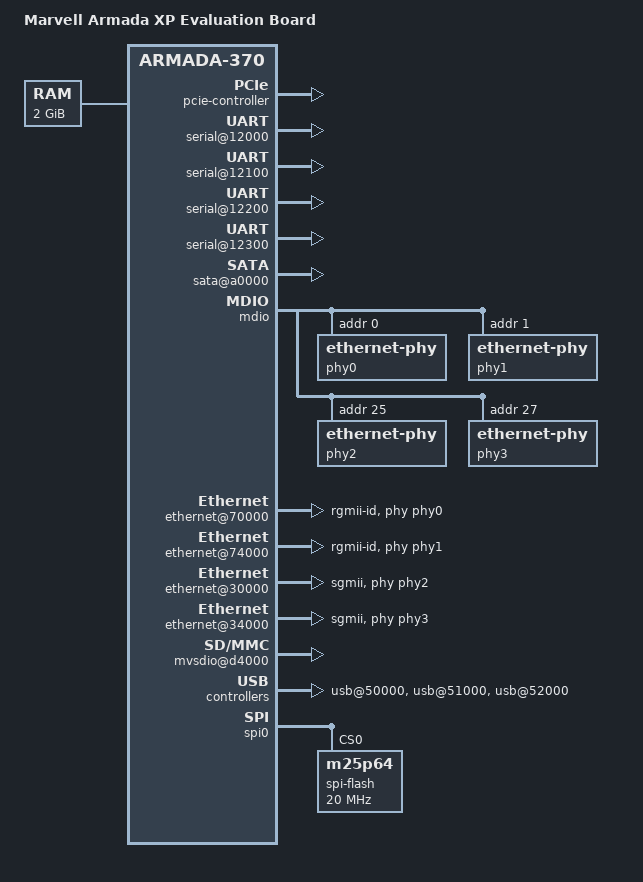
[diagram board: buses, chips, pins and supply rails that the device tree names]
/*
 * Device Tree file for Marvell Armada XP evaluation board
 * (DB-78460-BP)
 *
 * Copyright (C) 2012 Marvell
 *
 * Lior Amsalem <alior@marvell.com>
 * Gregory CLEMENT <gregory.clement@free-electrons.com>
 * Thomas Petazzoni <thomas.petazzoni@free-electrons.com>
 *
 * This file is licensed under the terms of the GNU General Public
 * License version 2.  This program is licensed "as is" without any
 * warranty of any kind, whether express or implied.
 */

/dts-v1/;
#include "armada-xp-mv78460.dtsi"

/ {
	model = "Marvell Armada XP Evaluation Board";
	compatible = "marvell,axp-db", "marvell,armadaxp-mv78460", "marvell,armadaxp", "marvell,armada-370-xp";

	chosen {
		bootargs = "console=ttyS0,115200 earlyprintk";
	};

	memory {
		device_type = "memory";
		reg = <0 0x00000000 0 0x80000000>; /* 2 GB */
	};

	soc {
		ranges = <MBUS_ID(0xf0, 0x01) 0 0 0xd0000000 0x100000
			  MBUS_ID(0x01, 0x1d) 0 0 0xfff00000 0x100000
			  MBUS_ID(0x01, 0x2f) 0 0 0xf0000000 0x1000000>;

		devbus-bootcs {
			status = "okay";

			/* Device Bus parameters are required */

			/* Read parameters */
			devbus,bus-width    = <8>;
			devbus,turn-off-ps  = <60000>;
			devbus,badr-skew-ps = <0>;
			devbus,acc-first-ps = <124000>;
			devbus,acc-next-ps  = <248000>;
			devbus,rd-setup-ps  = <0>;
			devbus,rd-hold-ps   = <0>;

			/* Write parameters */
			devbus,sync-enable = <0>;
			devbus,wr-high-ps  = <60000>;
			devbus,wr-low-ps   = <60000>;
			devbus,ale-wr-ps   = <60000>;

			/* NOR 16 MiB */
			nor@0 {
				compatible = "cfi-flash";
				reg = <0 0x1000000>;
				bank-width = <2>;
			};
		};

		pcie-controller {
			status = "okay";

			/*
			 * All 6 slots are physically present as
			 * standard PCIe slots on the board.
			 */
			pcie@1,0 {
				/* Port 0, Lane 0 */
				status = "okay";
			};
			pcie@2,0 {
				/* Port 0, Lane 1 */
				status = "okay";
			};
			pcie@3,0 {
				/* Port 0, Lane 2 */
				status = "okay";
			};
			pcie@4,0 {
				/* Port 0, Lane 3 */
				status = "okay";
			};
			pcie@9,0 {
				/* Port 2, Lane 0 */
				status = "okay";
			};
			pcie@10,0 {
				/* Port 3, Lane 0 */
				status = "okay";
			};
		};

		internal-regs {
			serial@12000 {
				clock-frequency = <250000000>;
				status = "okay";
			};
			serial@12100 {
				clock-frequency = <250000000>;
				status = "okay";
			};
			serial@12200 {
				clock-frequency = <250000000>;
				status = "okay";
			};
			serial@12300 {
				clock-frequency = <250000000>;
				status = "okay";
			};

			sata@a0000 {
				nr-ports = <2>;
				status = "okay";
			};

			mdio {
				phy0: ethernet-phy@0 {
					reg = <0>;
				};

				phy1: ethernet-phy@1 {
					reg = <1>;
				};

				phy2: ethernet-phy@2 {
					reg = <25>;
				};

				phy3: ethernet-phy@3 {
					reg = <27>;
				};
			};

			ethernet@70000 {
				status = "okay";
				phy = <&phy0>;
				phy-mode = "rgmii-id";
			};
			ethernet@74000 {
				status = "okay";
				phy = <&phy1>;
				phy-mode = "rgmii-id";
			};
			ethernet@30000 {
				status = "okay";
				phy = <&phy2>;
				phy-mode = "sgmii";
			};
			ethernet@34000 {
				status = "okay";
				phy = <&phy3>;
				phy-mode = "sgmii";
			};

			mvsdio@d4000 {
				pinctrl-0 = <&sdio_pins>;
				pinctrl-names = "default";
				status = "okay";
				/* No CD or WP GPIOs */
				broken-cd;
			};

			usb@50000 {
				status = "okay";
			};

			usb@51000 {
				status = "okay";
			};

			usb@52000 {
				status = "okay";
			};

			spi0: spi@10600 {
				status = "okay";

				spi-flash@0 {
					#address-cells = <1>;
					#size-cells = <1>;
					compatible = "m25p64";
					reg = <0>; /* Chip select 0 */
					spi-max-frequency = <20000000>;
				};
			};
		};
	};
};
